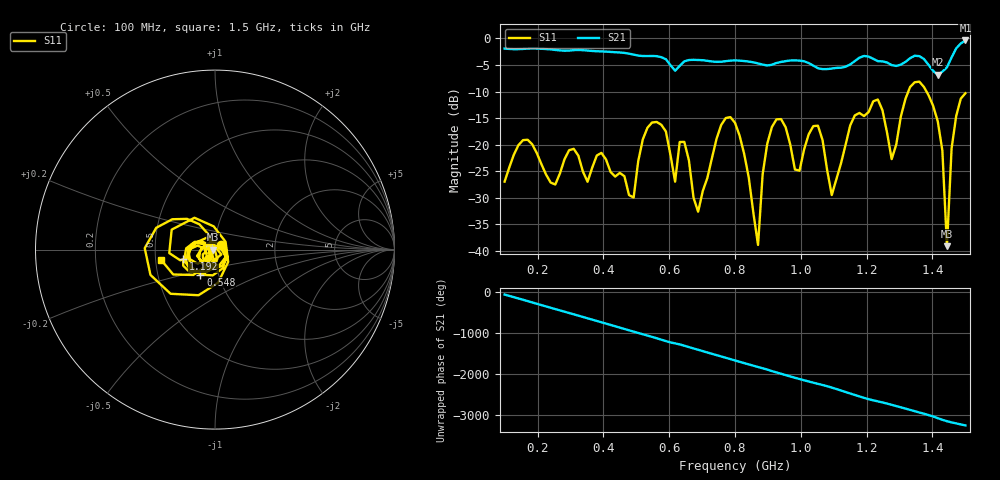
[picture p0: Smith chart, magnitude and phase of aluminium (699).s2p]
! NanoVNA-App
! Date: 2025-09-25 15:00:43
! Start: 100MHz Stop: 1,5GHz Points: 101
! S-Parameter data: F S11 S21 S12 S22
# Hz S RI R 50
!  Frequency  S11_Real  S11_Imag  S21_Real  S21_Imag  S12_Real  S12_Imag  S22_Real  S22_Imag
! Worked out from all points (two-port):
!   101 points, 100 MHz to 1.5 GHz, reference 50 ohm
!   highest |S21| = -0.39 dB at 1.5 GHz (marker M1); lowest = -6.9 dB at 1.416 GHz (marker M2)
!   |S21| within 3 dB of the highest: start of sweep to 565.4 MHz; 1.46 GHz to end of sweep (the widest 2 of 4)
!   lowest |S11| = -39.1 dB at 1.444 GHz (marker M3), VSWR 1.02, Z = 48.9 + j0.00659 ohm
!   |S11| at or under -10 dB: start of sweep to 1.327 GHz; 1.382 GHz to end of sweep
!   S12 and S22 are empty: the file has one direction only
!   S11 on the Smith chart (normalised r, x): 100 MHz: 1.07, +0.06; 548 MHz: 0.82, -0.23; 1.192 GHz: 0.69, -0.08; 1.5 GHz: 0.54, -0.07
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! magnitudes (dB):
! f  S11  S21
! 100 MHz  -27.0  -1.9
! 156 MHz  -19.2  -2.0
! 338 MHz  -25.1  -2.2
! 492 MHz  -30.0  -3.1
! 548 MHz  -15.8  -3.3
! 576 MHz  -16.3  -3.5
! 646 MHz  -19.5  -4.3
! 688 MHz  -32.6  -4.1
! 800 MHz  -15.9  -4.1
! 870 MHz  -38.9  -4.7
! 912 MHz  -16.7  -5.0
! 996 MHz  -24.9  -4.2
! 1.038 GHz  -16.5  -5.1
! 1.094 GHz  -29.5  -5.7
! 1.192 GHz  -14.6  -3.3
! 1.234 GHz  -11.5  -4.3
! 1.276 GHz  -22.7  -5.0
! 1.346 GHz  -8.3  -3.3
! 1.416 GHz  -15.6  -6.9
! 1.444 GHz  -39.1  -5.5
! 1.458 GHz  -20.7  -3.6
! 1.5 GHz  -10.3  -0.4
